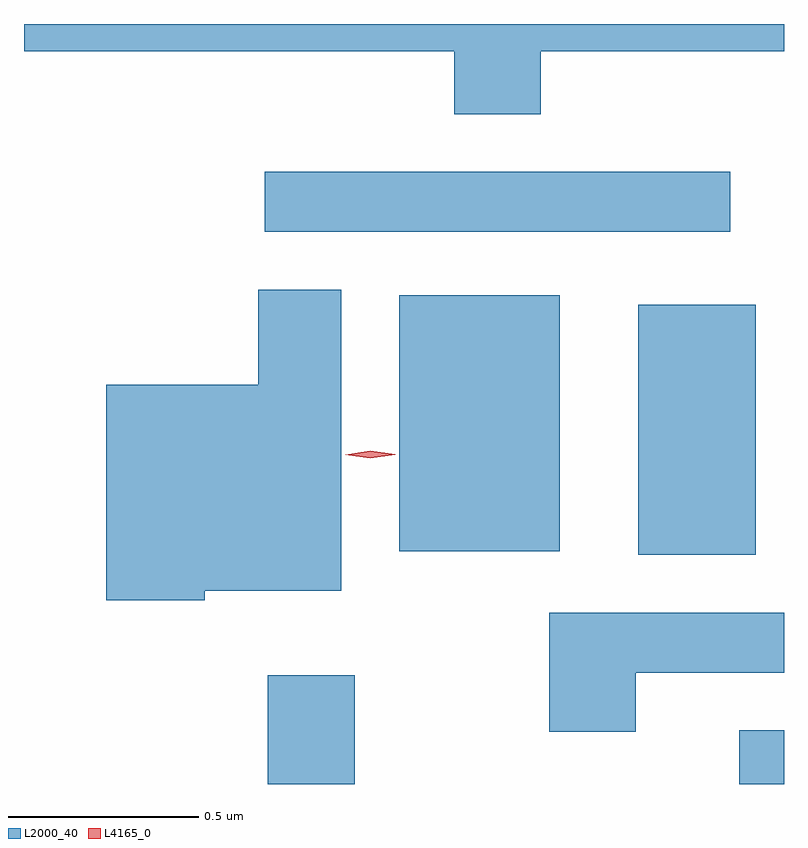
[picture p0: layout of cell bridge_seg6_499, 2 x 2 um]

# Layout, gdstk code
import gdstk
lib = gdstk.Library(unit=1e-6, precision=1e-09)
def R(c, l, rs):  # rectangles x0, y0, x1, y1
    for r in rs: c.add(gdstk.rectangle(r[:2], r[2:], *l))
def P(c, l, *ps):  # polygons
    for p in ps: c.add(gdstk.Polygon(p, *l))
L2000_40 = (2000, 40)
L4165_0 = (4165, 0)

bridge_seg6_499 = lib.new_cell('bridge_seg6_499')
R(bridge_seg6_499, L2000_40, [(624.171,1568.088,624.399,1568.374), (625.411,1568.088,625.529,1568.229), (625.146,1568.691,625.454,1569.349), (624.516,1568.701,624.939,1569.374), (624.163,1569.541,625.388,1569.699)])
P(bridge_seg6_499, L2000_40, [(624.889,1570.016),(625.529,1570.016),(625.529,1570.088),(623.529,1570.088),(623.529,1570.016),(624.661,1570.016),(624.661,1569.851),(624.889,1569.851)],
  [(624.004,1568.596),(624.364,1568.596),(624.364,1569.389),(624.146,1569.389),(624.146,1569.139),(623.746,1569.139),(623.746,1568.571),(624.004,1568.571)],
  [(625.139,1568.381),(625.529,1568.381),(625.529,1568.539),(624.911,1568.539),(624.911,1568.226),(625.139,1568.226)])
P(bridge_seg6_499, L4165_0, [(624.44,1568.945),(624.374,1568.954),(624.374,1568.955),(624.374,1568.955),(624.44,1568.965),(624.506,1568.956),(624.506,1568.956),(624.506,1568.955)])

lib.write_gds('bridge_seg6_499.gds')
